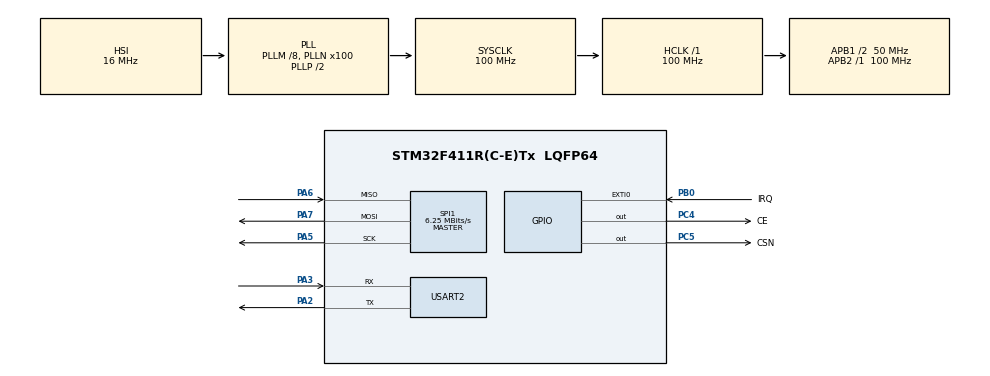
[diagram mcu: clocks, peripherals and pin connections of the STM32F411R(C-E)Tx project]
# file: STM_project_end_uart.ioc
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Mcu.Family=STM32F4
Mcu.Name=STM32F411R(C-E)Tx
Mcu.Package=LQFP64
NVIC.EXTI0_IRQn=true\:5\:0\:true\:false\:true\:true\:true
NVIC.PriorityGroup=NVIC_PRIORITYGROUP_4
NVIC.USART2_IRQn=true\:6\:0\:true\:false\:true\:true\:true
PA2.Mode=Asynchronous
PA2.Signal=USART2_TX
PA3.Mode=Asynchronous
PA3.Signal=USART2_RX
PA5.Mode=Full_Duplex_Master
PA5.Signal=SPI1_SCK
PA6.Mode=Full_Duplex_Master
PA6.Signal=SPI1_MISO
PA7.Mode=Full_Duplex_Master
PA7.Signal=SPI1_MOSI
PB0.GPIO_Label=IRQ
PB0.GPIO_ModeDefaultEXTI=GPIO_MODE_IT_FALLING
PB0.GPIO_PuPd=GPIO_PULLUP
PB0.Signal=GPXTI0
PC4.GPIO_Label=CE
PC4.Signal=GPIO_Output
PC5.GPIO_Label=CSN
PC5.Signal=GPIO_Output
ProjectManager.HeapSize=0x200
ProjectManager.StackSize=0x400
ProjectManager.TargetToolchain=STM32CubeIDE
RCC.48MHZClocksFreq_Value=50000000
RCC.AHBFreq_Value=100000000
RCC.APB1CLKDivider=RCC_HCLK_DIV2
RCC.APB1Freq_Value=50000000
RCC.APB1TimFreq_Value=100000000
RCC.APB2Freq_Value=100000000
RCC.APB2TimFreq_Value=100000000
RCC.CortexFreq_Value=100000000
RCC.HCLKFreq_Value=100000000
RCC.HSE_VALUE=25000000
RCC.HSI_VALUE=16000000
RCC.LSE_VALUE=32768
RCC.PLLM=8
RCC.PLLN=100
RCC.SYSCLKFreq_VALUE=100000000
RCC.SYSCLKSource=RCC_SYSCLKSOURCE_PLLCLK
RCC.VCOOutputFreq_Value=200000000
SPI1.BaudRatePrescaler=SPI_BAUDRATEPRESCALER_16
SPI1.CalculateBaudRate=6.25 MBits/s
SPI1.Direction=SPI_DIRECTION_2LINES
SPI1.Mode=SPI_MODE_MASTER
SPI1.VirtualType=VM_MASTER
USART2.VirtualMode=VM_ASYNC
board=custom

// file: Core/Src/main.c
/* USER CODE BEGIN Header */
/**
  ******************************************************************************
  * @file           : main.c
  * @brief          : Main program body
  ******************************************************************************
  * @attention
  *
  * <h2><center>&copy; Copyright (c) 2020 STMicroelectronics.
  * All rights reserved.</center></h2>
  *
  * This software component is licensed by ST under BSD 3-Clause license,
  * the "License"; You may not use this file except in compliance with the
  * License. You may obtain a copy of the License at:
  *                        opensource.org/licenses/BSD-3-Clause
  *
  ******************************************************************************
  */
/* USER CODE END Header */
#include "main.h"

/* USER CODE BEGIN Includes */
#include <stdio.h>
#include <string.h>
#include <stdlib.h>
#include "NRF24L01.h"
/* USER CODE END Includes */

SPI_HandleTypeDef hspi1;

UART_HandleTypeDef huart2;

/* USER CODE BEGIN PV */
extern volatile uint32_t NRF24_IRQ;

uint8_t uart_receve[64] = {0};
uint8_t uart_transmit[64] = {0};
uint8_t uart_flag = 0;

uint8_t buf_nrf_transmit[27] = {0};
uint8_t buf_nrf_receive[27] = {0};
uint8_t nrf_receive_flag = 0;
/* USER CODE END PV */

void SystemClock_Config(void);
static void MX_GPIO_Init(void);
static void MX_SPI1_Init(void);
static void MX_USART2_UART_Init(void);

int main(void)
{

  /* MCU Configuration--------------------------------------------------------*/

  /* Reset of all peripherals, Initializes the Flash interface and the Systick. */
  HAL_Init();

  /* Configure the system clock */
  SystemClock_Config();

  /* Initialize all configured peripherals */
  MX_GPIO_Init();
  MX_SPI1_Init();
  MX_USART2_UART_Init();
  /* USER CODE BEGIN 2 */
  USART2->CR1 |= USART_CR1_TE | USART_CR1_RE | USART_CR1_RXNEIE;
  NVIC_EnableIRQ (USART2_IRQn);
  NRF24_init();
  /* USER CODE END 2 */

  /* Infinite loop */
  /* USER CODE BEGIN WHILE */

  NRF24_Receive_base();

  while (1)
  {
	  if (NRF24_IRQ)
	  {
		  uint8_t r_rx_payload = (uint8_t)R_RX_PAYLOAD;
		  uint8_t temp_status = NRF24_ReadReg((uint8_t)STATUS);

		  NRF24_IRQ = 0;

		  if (temp_status & (1UL << RX_DR))
		  {
			  NRF24_WriteReg(STATUS, NRF24_ReadReg((uint8_t)STATUS) | 0x70); // clear interupt
			  NRF24_Read_Buf(r_rx_payload, buf_nrf_receive, 27);
			  NRF24_Receive_base();

			  nrf_receive_flag = 1;
		  }
		  else if (temp_status & (1UL << TX_DS))
		  {
			  NRF24_WriteReg(STATUS, NRF24_ReadReg((uint8_t)STATUS) | 0x70); // clear interupt
			  NRF24_Receive_base();
		  }

		  else if (temp_status & (1UL << MAX_RT))
		  {
			  NRF24_WriteReg(STATUS, NRF24_ReadReg((uint8_t)STATUS) | 0x70); // clear interupt
			  NRF24_Receive_base();
		  }
	  }

	  if (nrf_receive_flag)
	  {
		  nrf_receive_flag = 0;

		  sprintf((char*)uart_transmit, ";%f:%f:%f:%d:%d:%d:%d:%d:%d:%d:%lu:%lu;", *((float*)buf_nrf_receive), *((float*)(buf_nrf_receive + 4)),
				  *((float*)(buf_nrf_receive + 8)), buf_nrf_receive[12], buf_nrf_receive[13], buf_nrf_receive[14],
				  buf_nrf_receive[15], buf_nrf_receive[16], buf_nrf_receive[17], buf_nrf_receive[18],
				  *((uint32_t*)(buf_nrf_receive + 19)), *((uint32_t*)(buf_nrf_receive + 23)));
		  HAL_UART_Transmit(&huart2, uart_transmit, strlen((char*)uart_transmit), 100);
	  }

	  if (uart_flag)
	  {
		  char array[10] = {0};
		  uint8_t temp_buf[64];
		  uint32_t array_index = 0;
		  uint32_t num_array_index = 0;
		  uart_flag = 0;

		  memcpy(temp_buf, uart_receve, 64);

		  if (temp_buf[0] == 'u')
		  {
			  buf_nrf_transmit[0] = temp_buf[0];
		  }
		  else if (temp_buf[0] == 'n')
		  {
			  buf_nrf_transmit[0] = temp_buf[0];
		  }
		  else if (temp_buf[0] == 'a')
		  {
			  buf_nrf_transmit[0] = temp_buf[0];

			  for (uint32_t i = 1; temp_buf[i] != '\0'; i++)
			  {
				  if (temp_buf[i] != ':')
				  {
					  array[array_index] = temp_buf[i];
					  array_index++;
				  }
				  else
				  {
					  array[array_index] = '\0';
					  *((uint32_t*)(buf_nrf_transmit + 1)) = atoi(array);
					  array_index = 0;
				  }
			  }

			  array[array_index] = '\0';
			  *((uint32_t*)(buf_nrf_transmit + 5)) = atoi(array);
		  }
		  else
		  {
			  for (uint32_t i = 0; temp_buf[i] != '\0'; i++)
			  {
				  if (temp_buf[i] != ':')
				  {
					  array[array_index] = temp_buf[i];
					  array_index++;
				  }
				  else
				  {
					  array[array_index] = '\0';
					  buf_nrf_transmit[num_array_index] = atoi(array);
					  num_array_index++;
					  array_index = 0;
				  }
			  }

			  array[array_index] = '\0';
			  buf_nrf_transmit[num_array_index] = atoi(array);
		  }

		  NRF24_Transmit_base(buf_nrf_transmit, 27);
	  }

    /* USER CODE END WHILE */

  }
}

void SystemClock_Config(void)
{
  RCC_OscInitTypeDef RCC_OscInitStruct = {0};
  RCC_ClkInitTypeDef RCC_ClkInitStruct = {0};

  /** Configure the main internal regulator output voltage
  */
  __HAL_RCC_PWR_CLK_ENABLE();
  __HAL_PWR_VOLTAGESCALING_CONFIG(PWR_REGULATOR_VOLTAGE_SCALE1);
  /** Initializes the RCC Oscillators according to the specified parameters
  * in the RCC_OscInitTypeDef structure.
  */
  RCC_OscInitStruct.OscillatorType = RCC_OSCILLATORTYPE_HSI;
  RCC_OscInitStruct.HSIState = RCC_HSI_ON;
  RCC_OscInitStruct.HSICalibrationValue = RCC_HSICALIBRATION_DEFAULT;
  RCC_OscInitStruct.PLL.PLLState = RCC_PLL_ON;
  RCC_OscInitStruct.PLL.PLLSource = RCC_PLLSOURCE_HSI;
  RCC_OscInitStruct.PLL.PLLM = 8;
  RCC_OscInitStruct.PLL.PLLN = 100;
  RCC_OscInitStruct.PLL.PLLP = RCC_PLLP_DIV2;
  RCC_OscInitStruct.PLL.PLLQ = 4;
  if (HAL_RCC_OscConfig(&RCC_OscInitStruct) != HAL_OK)
  {
    Error_Handler();
  }
  /** Initializes the CPU, AHB and APB buses clocks
  */
  RCC_ClkInitStruct.ClockType = RCC_CLOCKTYPE_HCLK|RCC_CLOCKTYPE_SYSCLK
                              |RCC_CLOCKTYPE_PCLK1|RCC_CLOCKTYPE_PCLK2;
  RCC_ClkInitStruct.SYSCLKSource = RCC_SYSCLKSOURCE_PLLCLK;
  RCC_ClkInitStruct.AHBCLKDivider = RCC_SYSCLK_DIV1;
  RCC_ClkInitStruct.APB1CLKDivider = RCC_HCLK_DIV2;
  RCC_ClkInitStruct.APB2CLKDivider = RCC_HCLK_DIV1;

  if (HAL_RCC_ClockConfig(&RCC_ClkInitStruct, FLASH_LATENCY_3) != HAL_OK)
  {
    Error_Handler();
  }
}

static void MX_SPI1_Init(void)
{

  /* SPI1 parameter configuration*/
  hspi1.Instance = SPI1;
  hspi1.Init.Mode = SPI_MODE_MASTER;
  hspi1.Init.Direction = SPI_DIRECTION_2LINES;
  hspi1.Init.DataSize = SPI_DATASIZE_8BIT;
  hspi1.Init.CLKPolarity = SPI_POLARITY_LOW;
  hspi1.Init.CLKPhase = SPI_PHASE_1EDGE;
  hspi1.Init.NSS = SPI_NSS_SOFT;
  hspi1.Init.BaudRatePrescaler = SPI_BAUDRATEPRESCALER_16;
  hspi1.Init.FirstBit = SPI_FIRSTBIT_MSB;
  hspi1.Init.TIMode = SPI_TIMODE_DISABLE;
  hspi1.Init.CRCCalculation = SPI_CRCCALCULATION_DISABLE;
  hspi1.Init.CRCPolynomial = 10;
  if (HAL_SPI_Init(&hspi1) != HAL_OK)
  {
    Error_Handler();
  }

}

static void MX_USART2_UART_Init(void)
{

  huart2.Instance = USART2;
  huart2.Init.BaudRate = 115200;
  huart2.Init.WordLength = UART_WORDLENGTH_8B;
  huart2.Init.StopBits = UART_STOPBITS_1;
  huart2.Init.Parity = UART_PARITY_NONE;
  huart2.Init.Mode = UART_MODE_TX_RX;
  huart2.Init.HwFlowCtl = UART_HWCONTROL_NONE;
  huart2.Init.OverSampling = UART_OVERSAMPLING_16;
  if (HAL_UART_Init(&huart2) != HAL_OK)
  {
    Error_Handler();
  }

}

static void MX_GPIO_Init(void)
{
  GPIO_InitTypeDef GPIO_InitStruct = {0};

  /* GPIO Ports Clock Enable */
  __HAL_RCC_GPIOA_CLK_ENABLE();
  __HAL_RCC_GPIOC_CLK_ENABLE();
  __HAL_RCC_GPIOB_CLK_ENABLE();

  /*Configure GPIO pin Output Level */
  HAL_GPIO_WritePin(GPIOC, CE_Pin|CSN_Pin, GPIO_PIN_RESET);

  /*Configure GPIO pins : CE_Pin CSN_Pin */
  GPIO_InitStruct.Pin = CE_Pin|CSN_Pin;
  GPIO_InitStruct.Mode = GPIO_MODE_OUTPUT_PP;
  GPIO_InitStruct.Pull = GPIO_NOPULL;
  GPIO_InitStruct.Speed = GPIO_SPEED_FREQ_LOW;
  HAL_GPIO_Init(GPIOC, &GPIO_InitStruct);

  /*Configure GPIO pin : IRQ_Pin */
  GPIO_InitStruct.Pin = IRQ_Pin;
  GPIO_InitStruct.Mode = GPIO_MODE_IT_FALLING;
  GPIO_InitStruct.Pull = GPIO_PULLUP;
  HAL_GPIO_Init(IRQ_GPIO_Port, &GPIO_InitStruct);

  /* EXTI interrupt init*/
  HAL_NVIC_SetPriority(EXTI0_IRQn, 5, 0);
  HAL_NVIC_EnableIRQ(EXTI0_IRQn);

}

void Error_Handler(void)
{
}

/************************ (C) COPYRIGHT STMicroelectronics *****END OF FILE****/
